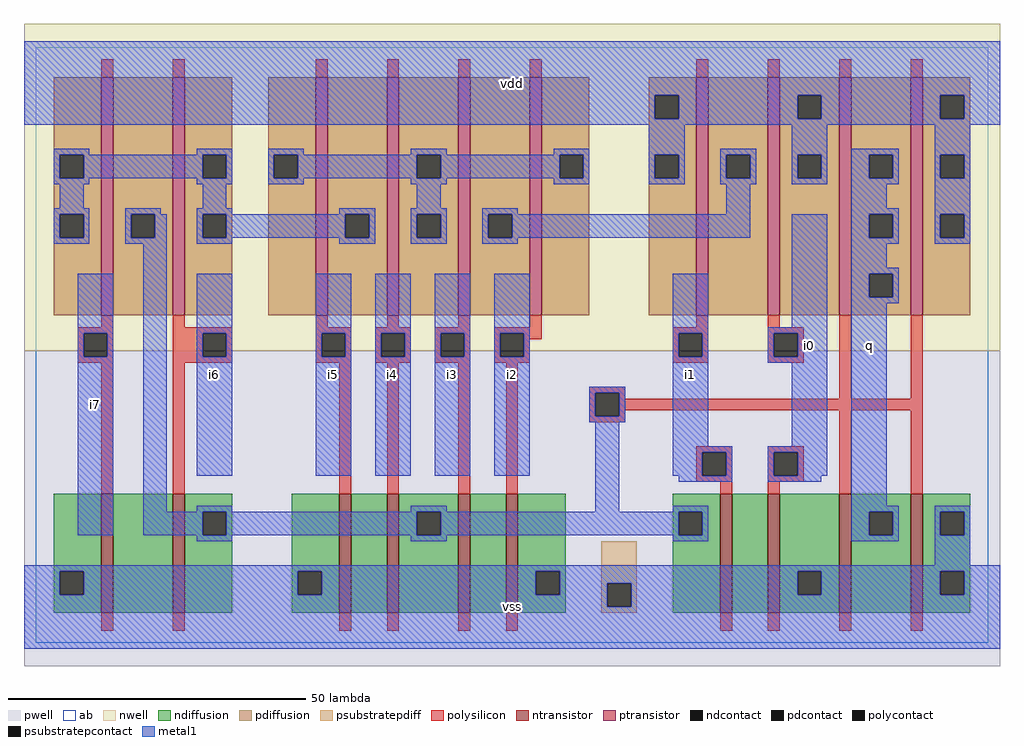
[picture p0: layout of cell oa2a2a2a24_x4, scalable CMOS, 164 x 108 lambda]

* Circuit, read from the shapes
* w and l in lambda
.subckt oa2a2a2a24_x4 i0 i1 i2 i3 i4 i5 i6 i7 q vdd vss
M1 n1 i7 vss vss nfet w=20 l=2
M2 n2 i6 n1 vss nfet w=20 l=2
M3 n3 i5 vss vss nfet w=20 l=2
M4 n2 i4 n3 vss nfet w=20 l=2
M5 n4 i3 n2 vss nfet w=20 l=2
M6 vss i2 n4 vss nfet w=20 l=2
M7 n5 i1 n2 vss nfet w=20 l=2
M8 vss i0 n5 vss nfet w=20 l=2
M9 q n2 vss vss nfet w=20 l=2 m=2
M10 n2 i7 n6 n7 pfet w=40 l=2
M11 n6 i6 n2 n7 pfet w=40 l=2
M12 n6 i5 n8 n7 pfet w=40 l=2
M13 n8 i4 n6 n7 pfet w=40 l=2
M14 n9 i3 n8 n7 pfet w=40 l=2
M15 n8 i2 n9 n7 pfet w=40 l=2
M16 n9 i1 vdd n7 pfet w=40 l=2
M17 vdd i0 n9 n7 pfet w=40 l=2
M18 q n2 vdd n7 pfet w=40 l=2 m=2
.ends

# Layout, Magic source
magic
tech scmos
<< ab >>
rect 0 0 160 100
<< pwell >>
rect -2 -4 162 49
<< nwell >>
rect -2 49 162 104
<< polysilicon >>
rect 11 95 13 98
rect 23 95 25 98
rect 47 95 49 98
rect 59 95 61 98
rect 71 95 73 98
rect 83 95 85 98
rect 111 95 113 98
rect 123 95 125 98
rect 135 95 137 98
rect 147 95 149 98
rect 11 53 13 55
rect 7 52 13 53
rect 7 48 8 52
rect 12 48 13 52
rect 7 47 13 48
rect 11 25 13 47
rect 23 53 25 55
rect 47 53 49 55
rect 59 53 61 55
rect 71 53 73 55
rect 83 53 85 55
rect 111 53 113 55
rect 23 52 33 53
rect 23 48 28 52
rect 32 48 33 52
rect 23 47 33 48
rect 47 52 53 53
rect 47 48 48 52
rect 52 48 53 52
rect 47 47 53 48
rect 57 52 63 53
rect 57 48 58 52
rect 62 48 63 52
rect 57 47 63 48
rect 67 52 73 53
rect 67 48 68 52
rect 72 48 73 52
rect 67 47 73 48
rect 77 52 85 53
rect 77 48 78 52
rect 82 51 85 52
rect 107 52 113 53
rect 82 48 83 51
rect 77 47 83 48
rect 107 48 108 52
rect 112 48 113 52
rect 107 47 113 48
rect 123 53 125 55
rect 123 52 129 53
rect 123 48 124 52
rect 128 48 129 52
rect 123 47 129 48
rect 23 25 25 47
rect 51 25 53 47
rect 59 25 61 47
rect 71 25 73 47
rect 79 25 81 47
rect 93 42 99 43
rect 93 38 94 42
rect 98 41 99 42
rect 135 41 137 55
rect 147 41 149 55
rect 98 39 149 41
rect 98 38 99 39
rect 93 37 99 38
rect 111 32 117 33
rect 111 28 112 32
rect 116 28 117 32
rect 111 27 117 28
rect 115 25 117 27
rect 123 32 129 33
rect 123 28 124 32
rect 128 28 129 32
rect 123 27 129 28
rect 123 25 125 27
rect 135 25 137 39
rect 147 25 149 39
rect 11 2 13 5
rect 23 2 25 5
rect 51 2 53 5
rect 59 2 61 5
rect 71 2 73 5
rect 79 2 81 5
rect 115 2 117 5
rect 123 2 125 5
rect 135 2 137 5
rect 147 2 149 5
<< ndiffusion >>
rect 3 12 11 25
rect 3 8 4 12
rect 8 8 11 12
rect 3 5 11 8
rect 13 5 23 25
rect 25 22 33 25
rect 25 18 28 22
rect 32 18 33 22
rect 25 5 33 18
rect 43 12 51 25
rect 43 8 44 12
rect 48 8 51 12
rect 43 5 51 8
rect 53 5 59 25
rect 61 22 71 25
rect 61 18 64 22
rect 68 18 71 22
rect 61 5 71 18
rect 73 5 79 25
rect 81 12 89 25
rect 107 22 115 25
rect 107 18 108 22
rect 112 18 115 22
rect 81 8 84 12
rect 88 8 89 12
rect 81 5 89 8
rect 107 5 115 18
rect 117 5 123 25
rect 125 12 135 25
rect 125 8 128 12
rect 132 8 135 12
rect 125 5 135 8
rect 137 22 147 25
rect 137 18 140 22
rect 144 18 147 22
rect 137 5 147 18
rect 149 22 157 25
rect 149 18 152 22
rect 156 18 157 22
rect 149 12 157 18
rect 149 8 152 12
rect 156 8 157 12
rect 149 5 157 8
<< pdiffusion >>
rect 3 82 11 95
rect 3 78 4 82
rect 8 78 11 82
rect 3 72 11 78
rect 3 68 4 72
rect 8 68 11 72
rect 3 55 11 68
rect 13 72 23 95
rect 13 68 16 72
rect 20 68 23 72
rect 13 55 23 68
rect 25 82 33 95
rect 25 78 28 82
rect 32 78 33 82
rect 25 72 33 78
rect 25 68 28 72
rect 32 68 33 72
rect 25 55 33 68
rect 39 82 47 95
rect 39 78 40 82
rect 44 78 47 82
rect 39 55 47 78
rect 49 72 59 95
rect 49 68 52 72
rect 56 68 59 72
rect 49 55 59 68
rect 61 82 71 95
rect 61 78 64 82
rect 68 78 71 82
rect 61 72 71 78
rect 61 68 64 72
rect 68 68 71 72
rect 61 55 71 68
rect 73 72 83 95
rect 73 68 76 72
rect 80 68 83 72
rect 73 55 83 68
rect 85 82 93 95
rect 85 78 88 82
rect 92 78 93 82
rect 85 55 93 78
rect 103 92 111 95
rect 103 88 104 92
rect 108 88 111 92
rect 103 82 111 88
rect 103 78 104 82
rect 108 78 111 82
rect 103 55 111 78
rect 113 82 123 95
rect 113 78 116 82
rect 120 78 123 82
rect 113 55 123 78
rect 125 92 135 95
rect 125 88 128 92
rect 132 88 135 92
rect 125 82 135 88
rect 125 78 128 82
rect 132 78 135 82
rect 125 55 135 78
rect 137 82 147 95
rect 137 78 140 82
rect 144 78 147 82
rect 137 72 147 78
rect 137 68 140 72
rect 144 68 147 72
rect 137 62 147 68
rect 137 58 140 62
rect 144 58 147 62
rect 137 55 147 58
rect 149 92 157 95
rect 149 88 152 92
rect 156 88 157 92
rect 149 82 157 88
rect 149 78 152 82
rect 156 78 157 82
rect 149 72 157 78
rect 149 68 152 72
rect 156 68 157 72
rect 149 55 157 68
<< metal1 >>
rect -2 92 162 101
rect -2 88 104 92
rect 108 88 128 92
rect 132 88 152 92
rect 156 88 162 92
rect -2 87 162 88
rect 3 82 9 83
rect 27 82 33 83
rect 3 78 4 82
rect 8 78 28 82
rect 32 78 33 82
rect 3 77 9 78
rect 27 77 33 78
rect 39 82 45 83
rect 63 82 69 83
rect 87 82 93 83
rect 39 78 40 82
rect 44 78 64 82
rect 68 78 88 82
rect 92 78 93 82
rect 39 77 45 78
rect 63 77 69 78
rect 87 77 93 78
rect 103 82 109 87
rect 103 78 104 82
rect 108 78 109 82
rect 103 77 109 78
rect 115 82 121 83
rect 115 78 116 82
rect 120 78 121 82
rect 115 77 121 78
rect 127 82 133 87
rect 127 78 128 82
rect 132 78 133 82
rect 127 77 133 78
rect 137 82 145 83
rect 137 78 140 82
rect 144 78 145 82
rect 137 77 145 78
rect 151 82 157 87
rect 151 78 152 82
rect 156 78 157 82
rect 4 73 8 77
rect 28 73 32 77
rect 64 73 68 77
rect 3 72 9 73
rect 3 68 4 72
rect 8 68 9 72
rect 3 67 9 68
rect 15 72 21 73
rect 27 72 33 73
rect 51 72 57 73
rect 15 68 16 72
rect 20 68 22 72
rect 15 67 22 68
rect 27 68 28 72
rect 32 68 52 72
rect 56 68 57 72
rect 27 67 33 68
rect 51 67 57 68
rect 63 72 69 73
rect 63 68 64 72
rect 68 68 69 72
rect 63 67 69 68
rect 75 72 81 73
rect 116 72 120 77
rect 137 73 143 77
rect 137 72 145 73
rect 75 68 76 72
rect 80 68 120 72
rect 75 67 81 68
rect 7 52 13 62
rect 7 48 8 52
rect 12 48 13 52
rect 7 18 13 48
rect 18 22 22 67
rect 27 52 33 62
rect 27 48 28 52
rect 32 48 33 52
rect 27 28 33 48
rect 47 52 53 62
rect 47 48 48 52
rect 52 48 53 52
rect 47 28 53 48
rect 57 52 63 62
rect 57 48 58 52
rect 62 48 63 52
rect 57 28 63 48
rect 67 52 73 62
rect 67 48 68 52
rect 72 48 73 52
rect 67 28 73 48
rect 77 52 83 62
rect 77 48 78 52
rect 82 48 83 52
rect 77 28 83 48
rect 107 52 113 62
rect 127 53 133 72
rect 107 48 108 52
rect 112 48 113 52
rect 93 42 99 43
rect 93 38 94 42
rect 98 38 99 42
rect 93 37 99 38
rect 27 22 33 23
rect 63 22 69 23
rect 94 22 98 37
rect 107 33 113 48
rect 123 52 133 53
rect 123 48 124 52
rect 128 48 133 52
rect 123 47 133 48
rect 127 33 133 47
rect 107 32 117 33
rect 107 28 112 32
rect 116 28 117 32
rect 108 27 117 28
rect 123 32 133 33
rect 123 28 124 32
rect 128 28 133 32
rect 137 68 140 72
rect 144 68 145 72
rect 137 67 145 68
rect 151 72 157 78
rect 151 68 152 72
rect 156 68 157 72
rect 151 67 157 68
rect 137 63 143 67
rect 137 62 145 63
rect 137 58 140 62
rect 144 58 145 62
rect 137 57 145 58
rect 123 27 132 28
rect 137 23 143 57
rect 107 22 113 23
rect 18 18 28 22
rect 32 18 64 22
rect 68 18 108 22
rect 112 18 113 22
rect 27 17 33 18
rect 63 17 69 18
rect 107 17 113 18
rect 137 22 145 23
rect 137 18 140 22
rect 144 18 145 22
rect 137 17 145 18
rect 151 22 157 23
rect 151 18 152 22
rect 156 18 157 22
rect 151 13 157 18
rect -2 12 162 13
rect -2 8 4 12
rect 8 8 44 12
rect 48 8 84 12
rect 88 10 128 12
rect 88 8 96 10
rect -2 6 96 8
rect 100 8 128 10
rect 132 8 152 12
rect 156 8 162 12
rect 100 6 162 8
rect -2 -1 162 6
<< ntransistor >>
rect 11 5 13 25
rect 23 5 25 25
rect 51 5 53 25
rect 59 5 61 25
rect 71 5 73 25
rect 79 5 81 25
rect 115 5 117 25
rect 123 5 125 25
rect 135 5 137 25
rect 147 5 149 25
<< ptransistor >>
rect 11 55 13 95
rect 23 55 25 95
rect 47 55 49 95
rect 59 55 61 95
rect 71 55 73 95
rect 83 55 85 95
rect 111 55 113 95
rect 123 55 125 95
rect 135 55 137 95
rect 147 55 149 95
<< polycontact >>
rect 8 48 12 52
rect 28 48 32 52
rect 48 48 52 52
rect 58 48 62 52
rect 68 48 72 52
rect 78 48 82 52
rect 108 48 112 52
rect 124 48 128 52
rect 94 38 98 42
rect 112 28 116 32
rect 124 28 128 32
<< ndcontact >>
rect 4 8 8 12
rect 28 18 32 22
rect 44 8 48 12
rect 64 18 68 22
rect 108 18 112 22
rect 84 8 88 12
rect 128 8 132 12
rect 140 18 144 22
rect 152 18 156 22
rect 152 8 156 12
<< pdcontact >>
rect 4 78 8 82
rect 4 68 8 72
rect 16 68 20 72
rect 28 78 32 82
rect 28 68 32 72
rect 40 78 44 82
rect 52 68 56 72
rect 64 78 68 82
rect 64 68 68 72
rect 76 68 80 72
rect 88 78 92 82
rect 104 88 108 92
rect 104 78 108 82
rect 116 78 120 82
rect 128 88 132 92
rect 128 78 132 82
rect 140 78 144 82
rect 140 68 144 72
rect 140 58 144 62
rect 152 88 156 92
rect 152 78 156 82
rect 152 68 156 72
<< psubstratepcontact >>
rect 96 6 100 10
<< psubstratepdiff >>
rect 95 10 101 17
rect 95 6 96 10
rect 100 6 101 10
rect 95 5 101 6
<< labels >>
rlabel metal1 10 40 10 40 6 i7
rlabel metal1 10 40 10 40 6 i7
rlabel metal1 30 45 30 45 6 i6
rlabel metal1 30 45 30 45 6 i6
rlabel metal1 50 45 50 45 6 i5
rlabel metal1 60 45 60 45 6 i4
rlabel metal1 60 45 60 45 6 i4
rlabel metal1 50 45 50 45 6 i5
rlabel metal1 80 6 80 6 6 vss
rlabel metal1 80 6 80 6 6 vss
rlabel metal1 80 45 80 45 6 i2
rlabel metal1 70 45 70 45 6 i3
rlabel metal1 70 45 70 45 6 i3
rlabel metal1 80 45 80 45 6 i2
rlabel metal1 80 94 80 94 6 vdd
rlabel metal1 80 94 80 94 6 vdd
rlabel metal1 110 45 110 45 6 i1
rlabel metal1 110 45 110 45 6 i1
rlabel metal1 130 50 130 50 6 i0
rlabel metal1 130 50 130 50 6 i0
rlabel metal1 140 50 140 50 6 q
rlabel metal1 140 50 140 50 6 q
<< end >>
